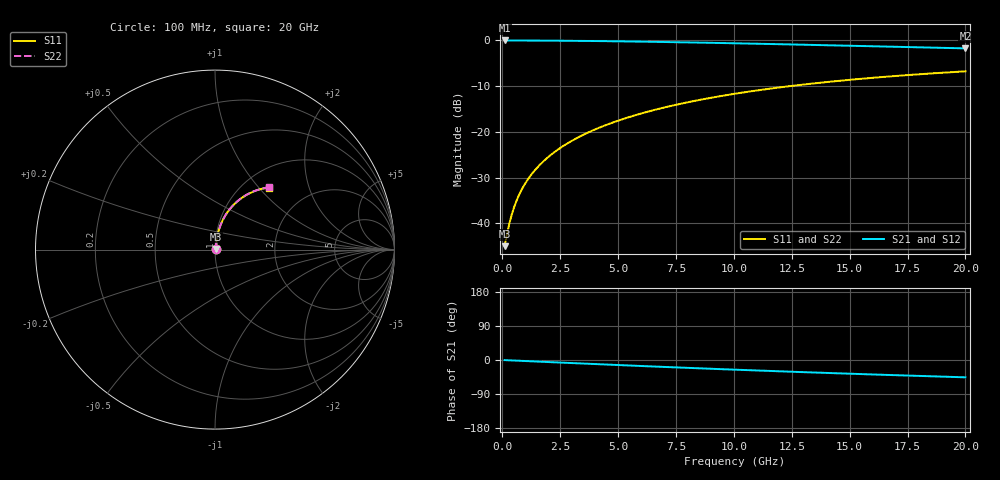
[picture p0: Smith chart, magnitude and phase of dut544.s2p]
! Touchstone file exported from HFSS 2024.1.0
!  File:  C:/UserFiles/LocalFiles/RDL_TSV_Batchsim/temp_RDL_bottom_544_1779689064.aedt
!  Generated:  02:07:30 PM May 25, 2026
!  Design:  RDL_bottom
!  Project:  temp_RDL_bottom_544_1779689064
!  Setup:  Setup1
!  Solution:  Sweep
! Variables:
!  dtsv = 10.80580581um
!  hbump = 3um
!  htsv = 94.54um
!  ldown = 617.6um
!  lrdl = 100um
!  p = 40
!  p1 = 48.36um
!  rhole = 1um
!  t = 450um
!  tdown = 2.84um
!  trdl = 3.915915916um
!  wdown = 16.3um
!  wrdl = 20um
# GHz S MA R 50.000000
! Terminal data exported
! Port[1] = RDL1_T1
! Port[2] = RDL1_T2
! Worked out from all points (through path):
!   200 points, 100 MHz to 20 GHz, reference 50 ohm
!   highest |S21| = -0.04 dB at 100 MHz (marker M1); lowest = -1.8 dB at 20 GHz (marker M2)
!   group delay of S21, straight-line fit = 6.35 ps
!   lowest |S11| = -45.0 dB at 100 MHz (marker M3), VSWR 1.01, Z = 50.5 + j0.284 ohm
!   |S11| at or under -10 dB: start of sweep to 12.46 GHz
!   |S22| runs from -45.0 to -6.8 dB; largest |S21 - S12| = 3e-15
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0.1  0.005621 30.0  0.9951 -0.3  0.9951 -0.3  0.005621 30.0
! Gamma 0 0 0 0
! Port Impedance 50 0 50 0
0.3  0.00979 58.3  0.9949 -0.8  0.9949 -0.8  0.00979 58.3
0.4  0.01224 64.2  0.9947 -1.1  0.9947 -1.1  0.01224 64.2
0.5  0.01475 68.0  0.9945 -1.4  0.9945 -1.4  0.01475 68.0
0.6  0.01728 70.6  0.9943 -1.7  0.9943 -1.7  0.01728 70.6
0.8  0.02237 74.0  0.9938 -2.2  0.9938 -2.2  0.02236 74.0
1.1  0.03004 76.9  0.9932 -3.0  0.9932 -3.0  0.03004 76.9
1.3  0.03519 78.1  0.9927 -3.6  0.9927 -3.6  0.03519 78.1
1.6  0.04296 79.1  0.9919 -4.4  0.9919 -4.4  0.04296 79.1
2.1  0.05599 80.0  0.9903 -5.7  0.9903 -5.7  0.05599 80.0
2.7  0.0717 80.1  0.9879 -7.3  0.9879 -7.3  0.0717 80.2
3.5  0.09274 79.6  0.9838 -9.4  0.9838 -9.4  0.09274 79.7
4.2  0.1112 78.9  0.9796 -11.3  0.9796 -11.3  0.1112 78.9
5  0.1322 77.7  0.9741 -13.3  0.9741 -13.3  0.1322 77.7
5.9  0.1558 76.2  0.9671 -15.6  0.9671 -15.6  0.1558 76.3
6.8  0.1792 74.6  0.9593 -17.8  0.9593 -17.8  0.1792 74.7
8.4  0.22 71.5  0.9441 -21.7  0.9441 -21.7  0.22 71.6
10.1  0.2617 68.1  0.9264 -25.7  0.9264 -25.7  0.2618 68.2
11.7  0.2991 64.9  0.9089 -29.2  0.9089 -29.2  0.2993 64.9
13.4  0.3366 61.5  0.8898 -32.9  0.8898 -32.9  0.3368 61.5
16.7  0.402 55.1  0.8521 -39.6  0.8521 -39.6  0.4023 55.1
20  0.4576 49.1  0.8152 -45.7  0.8152 -45.7  0.458 49.2
